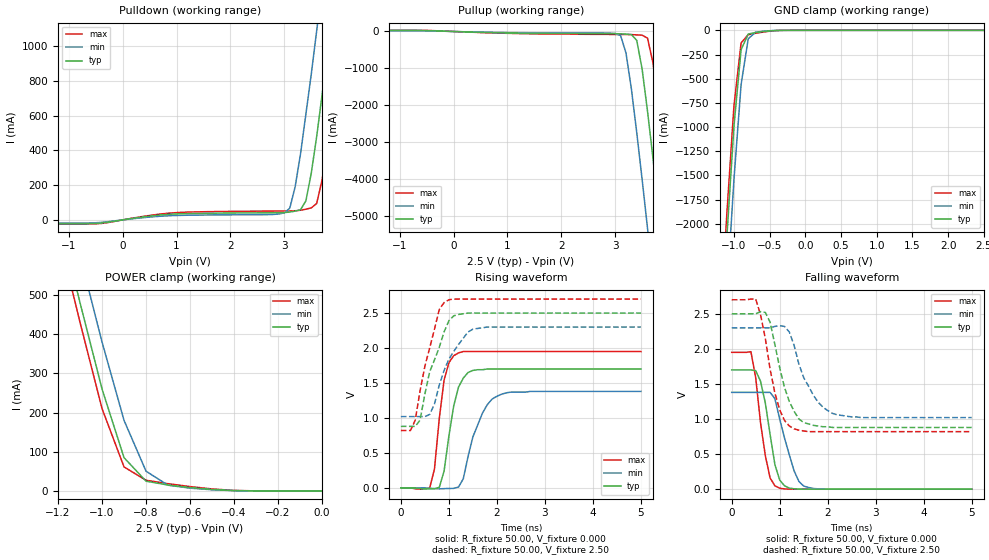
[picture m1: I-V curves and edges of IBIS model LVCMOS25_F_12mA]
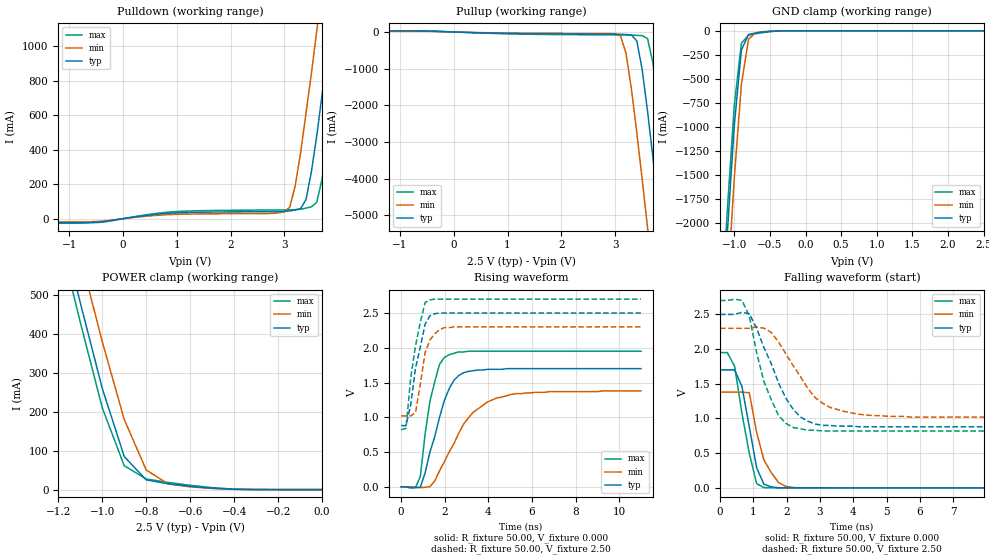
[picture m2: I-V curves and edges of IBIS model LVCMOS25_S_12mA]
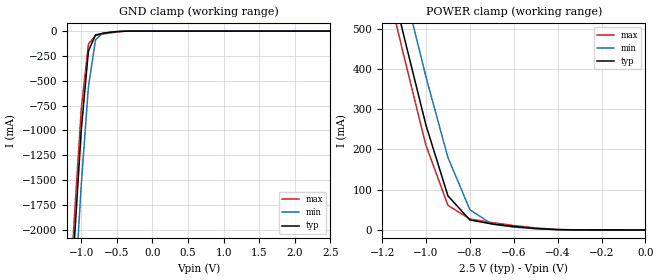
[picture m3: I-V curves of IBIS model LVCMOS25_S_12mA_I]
| / 7\'7
| \ \   Xilinx Inc.
| / /
| \_\/.\   IBIS Models for Spartan-3
| IBIS file spartan3.ibs created by appending individual files created
| using s2ibis2 version 1.1 North Carolina State University
| Electronics Research Laboratory 1995
[IBIS ver]   3.2
[File name]   scomp.ibs
[File Rev]   3.4.4
[Date]   Fri Dec 31 17:19:45 2021
[Source]   Spartan-3 layout and silicon models.
[Notes]   Xilinx Spartan-3 I/O IBIS models.
   To accurately model package parasitics, please follow the
   instructions at:  http://www.xilinx.com/xlnx/
   xil_ans_display.jsp?getPagePath=11754
   LVDS and LVPECL drivers require the use of external
   termination resistors to provide the correct voltage levels.
   For more information, refer to the Spartan-3 documentation.
   NOTE: This file is compliant with IBIS Version 3.2, but it
   may not implement all approved 3.2 features.
   NOTE:  Newer versions of the buffer models may be available.
   Check the web (http://www.xilinx.com/support/sw_ibis.htm) for
   the latest file revision.  However, please be aware that the
   web files are not compatible for use with IBISWriter, and
   must be manually annotated, should their use be preferred.
[Disclaimer] The data in these models is derived from HSPICE simulations
                 using modeling information extracted from the target process.
                 While a great deal of care has been taken to provide
                 information that is accurate, this model is considered
                 PRELIMINARY as it has not been verified by actual silicon
                 measurement.
[Copyright]   Copyright 2004 Xilinx Inc., All rights reserved.
|   Component Spartan-3
[Component]   Spartan-3
[Manufacturer]   Xilinx, Inc.
[Package]
| For Package Type pq208
| variable   typ   min   max
R_pkg   0.2m   0.199m   0.2m
L_pkg   14.5nH   12.8nH   16.2nH
C_pkg   1.8pF   1.6pF   2.0pF
[Pin]  signal_name   model_name   R_pin   L_pin   C_pin
P64   register_ac_out<1>   LVCMOS25_S_12mA_O
P123   memory_data_register_out<15>   LVCMOS25_S_12mA_O
P58   register_ac_out<2>   LVCMOS25_S_12mA_O
P62   register_ac_out<3>   LVCMOS25_S_12mA_O
P48   register_ac_out<4>   LVCMOS25_S_12mA_O
P77   register_ac_out<5>   LVCMOS25_S_12mA_O
P51   register_ac_out<6>   LVCMOS25_S_12mA_O
P65   register_ac_out<7>   LVCMOS25_S_12mA_O
P63   register_ac_out<8>   LVCMOS25_S_12mA_O
P43   register_ac_out<9>   LVCMOS25_S_12mA_O
P44   register_ac_out<10>   LVCMOS25_S_12mA_O
P45   register_ac_out<11>   LVCMOS25_S_12mA_O
P37   register_ac_out<12>   LVCMOS25_S_12mA_O
P40   register_ac_out<13>   LVCMOS25_S_12mA_O
P120   register_ac_out<14>   LVCMOS25_S_12mA_O
P85   register_ac_out<15>   LVCMOS25_S_12mA_O
P72   program_counter_out<0>   LVCMOS25_S_12mA_O
P90   program_counter_out<1>   LVCMOS25_S_12mA_O
P81   program_counter_out<2>   LVCMOS25_S_12mA_O
P86   program_counter_out<3>   LVCMOS25_S_12mA_O
P83   program_counter_out<4>   LVCMOS25_S_12mA_O
P95   program_counter_out<5>   LVCMOS25_S_12mA_O
P113   program_counter_out<6>   LVCMOS25_S_12mA_O
P68   program_counter_out<7>   LVCMOS25_S_12mA_O
P46   memory_write_out   LVCMOS25_S_12mA_O
P79   clock   LVCMOS25_S_12mA_I
P71   memory_address_register_out<0>   LVCMOS25_S_12mA_O
P80   memory_address_register_out<1>   LVCMOS25_S_12mA_O
P74   memory_address_register_out<2>   LVCMOS25_S_12mA_O
P34   reset   LVCMOS25_S_12mA_I
P94   memory_data_register_out<0>   LVCMOS25_S_12mA_O
P76   memory_address_register_out<3>   LVCMOS25_S_12mA_O
P93   memory_data_register_out<1>   LVCMOS25_S_12mA_O
P111   memory_address_register_out<4>   LVCMOS25_S_12mA_O
P52   memory_data_register_out<2>   LVCMOS25_S_12mA_O
P87   memory_address_register_out<5>   LVCMOS25_S_12mA_O
P67   memory_data_register_out<3>   LVCMOS25_S_12mA_O
P39   memory_address_register_out<6>   LVCMOS25_S_12mA_O
P61   memory_data_register_out<4>   LVCMOS25_S_12mA_O
P92   memory_address_register_out<7>   LVCMOS25_S_12mA_O
P78   memory_data_register_out<5>   LVCMOS25_S_12mA_O
P114   memory_data_register_out<6>   LVCMOS25_S_12mA_O
P117   memory_data_register_out<7>   LVCMOS25_S_12mA_O
P107   memory_data_register_out<10>   LVCMOS25_S_12mA_O
P119   memory_data_register_out<8>   LVCMOS25_S_12mA_O
P101   memory_data_register_out<11>   LVCMOS25_S_12mA_O
P116   memory_data_register_out<9>   LVCMOS25_S_12mA_O
P42   memory_data_register_out<12>   LVCMOS25_S_12mA_O
P115   memory_data_register_out<13>   LVCMOS25_S_12mA_O
P57   register_ac_out<0>   LVCMOS25_S_12mA_O
P122   memory_data_register_out<14>   LVCMOS25_S_12mA_O
P1   GND   GND
P2   IO_L01P_7/VRN_7   NC
P3   IO_L01N_7/VRP_7   NC
P6   VCCO_7   POWER
P7   IO_L19P_7   NC
P8   GND   GND
P9   IO_L19N_7/VREF_7   NC
P10   IO_L20P_7   NC
P11   IO_L20N_7   NC
P12   IO_L21P_7   NC
P13   IO_L21N_7   NC
P14   GND   GND
P15   IO_L22P_7   NC
P16   IO_L22N_7   NC
P17   VCCAUX   POWER
P18   IO_L23P_7   NC
P19   IO_L23N_7   NC
P20   IO_L24P_7   NC
P21   IO_L24N_7   NC
P23   VCCO_7   POWER
P25   GND   GND
P26   IO_L40P_7   NC
P27   IO_L40N_7/VREF_7   NC
P28   IO_L40P_6/VREF_6   NC
P29   IO_L40N_6   NC
P30   GND   GND
P32   VCCO_6   POWER
P35   IO_L24N_6/VREF_6   NC
P36   IO_L23P_6   NC
P38   VCCAUX   POWER
P41   GND   GND
P47   GND   GND
P49   VCCO_6   POWER
P53   GND   GND
P54   M1   LVCMOS25_F_12mA
P55   M0   LVCMOS25_F_12mA
P56   M2   LVCMOS25_F_12mA
P59   GND   GND
P60   VCCO_5   POWER
P66   GND   GND
P69   VCCAUX   POWER
P70   VCCINT   POWER
P73   VCCO_5   POWER
P75   GND   GND
P82   GND   GND
P84   VCCO_4   POWER
P88   VCCINT   POWER
P89   VCCAUX   POWER
P91   GND   GND
P98   VCCO_4   POWER
P99   GND   GND
P100   IO_L01P_4/VRN_4   NC
P102   IO/VREF_4   NC
P103   DONE   LVCMOS25_F_12mA
P104   CCLK   LVCMOS25_S_12mA
P105   GND   GND
P106   IO_L01P_3/VRN_3   NC
P110   VCCO_3   POWER
P112   GND   GND
P118   GND   GND
P121   VCCAUX   POWER
P124   IO_L24P_3   NC
P125   IO_L24N_3   NC
P127   VCCO_3   POWER
P129   GND   GND
P130   IO_L40P_3   NC
P131   IO_L40N_3/VREF_3   NC
P132   IO_L40P_2/VREF_2   NC
P133   IO_L40N_2   NC
P134   GND   GND
P136   VCCO_2   POWER
P138   IO_L24P_2   NC
P139   IO_L24N_2   NC
P140   IO_L23P_2   NC
P141   IO_L23N_2/VREF_2   NC
P142   VCCAUX   POWER
P143   IO_L22P_2   NC
P144   IO_L22N_2   NC
P145   GND   GND
P146   IO_L21P_2   NC
P147   IO_L21N_2   NC
P148   IO_L20P_2   NC
P149   IO_L20N_2   NC
P150   IO_L19P_2   NC
P151   GND   GND
P152   IO_L19N_2   NC
P153   VCCO_2   POWER
P155   IO_L01P_2/VRN_2   NC
P156   IO_L01N_2/VRP_2   NC
P157   GND   GND
P158   TDO   LVCMOS25_F_12mA
P159   TCK   LVCMOS25_F_12mA
P160   TMS   LVCMOS25_F_12mA
P161   IO_L01P_1/VRN_1   NC
P162   IO_L01N_1/VRP_1   NC
P163   GND   GND
P164   VCCO_1   POWER
P165   IO_L10P_1   NC
P166   IO_L10N_1/VREF_1   NC
P167   IO   NC
P168   IO_L27P_1   NC
P169   IO_L27N_1   NC
P170   GND   GND
P171   IO_L28P_1   NC
P172   IO_L28N_1   NC
P173   VCCAUX   POWER
P174   VCCINT   POWER
P175   IO   NC
P176   IO_L31P_1   NC
P177   VCCO_1   POWER
P178   IO_L31N_1/VREF_1   NC
P179   GND   GND
P180   GCLK4   LVCMOS25_F_12mA
P181   GCLK5   LVCMOS25_F_12mA
P182   IO   NC
P183   GCLK6   LVCMOS25_F_12mA
P184   GCLK7   LVCMOS25_F_12mA
P185   IO_L31P_0/VREF_0   NC
P186   GND   GND
P187   IO_L31N_0   NC
P188   VCCO_0   POWER
P189   IO   NC
P190   IO_L30P_0   NC
P191   IO_L30N_0   NC
P192   VCCINT   POWER
P193   VCCAUX   POWER
P194   IO_L27P_0   NC
P195   GND   GND
P196   IO_L27N_0   NC
P197   IO   NC
P198   IO_L25P_0   NC
P199   IO_L25N_0   NC
P201   VCCO_0   POWER
P202   GND   GND
P203   IO_L01P_0/VRN_0   NC
P204   IO_L01N_0/VRP_0   NC
P205   IO/VREF_0   NC
P206   HSWAP_EN   LVCMOS25_F_12mA
P207   PROG_B   LVCMOS25_F_12mA
P208   TDI   LVCMOS25_F_12mA
[Diff Pin]   inv_pin   vdiff   tdelay_typ   tdelay_min   tdelay_max
| Models and submodels in the file (4): LVCMOS25_F_12mA (I/O), LVCMOS25_S_12mA (I/O), LVCMOS25_S_12mA_I (Input), LVCMOS25_S_12mA_O (Output)
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|   Model LVCMOS25_F_12mA
[Model]   LVCMOS25_F_12mA
Model_type   I/O
Polarity   Non-Inverting
Enable   Active-Low
Vinl =   0.70V
Vinh =   1.70V
Vmeas =   1.25V
Cref =  0.000F
Rref =   1.00M
Vref =  0.000V
C_comp   6.38pF   4.60pF   8.23pF
[Temperature Range]   25.00   85.00   0.000
[Voltage Range]   2.50V   2.30V   2.70V
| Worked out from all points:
|   slope of the pulldown table from 0 to 0.375 V, typ, clamps not added: 22.4 ohm
|   slope of the pullup table from 0 to 0.375 V, typ, clamps not added: 20.9 ohm
|   GND clamp passes 1 mA (typ) near -0.38 V on its own axis
|   POWER clamp passes 1 mA (typ) near -0.41 V on its own axis
|   rising waveform, R_fixture 50.00, V_fixture 0.000: 20-80 % time 250ps typ, 383ps min, 191ps max; typ from 0 V to 1.7 V
|   rising waveform, R_fixture 50.00, V_fixture 2.50: 20-80 % time 412ps typ, 466ps min, 365ps max; typ from 0.88 V to 2.5 V
|   falling waveform, R_fixture 50.00, V_fixture 0.000: 20-80 % time 246ps typ, 329ps min, 223ps max; typ from 1.7 V to 0 V
|   falling waveform, R_fixture 50.00, V_fixture 2.50: 20-80 % time 369ps typ, 462ps min, 324ps max; typ from 2.5 V to 0.88 V
[Pulldown]
| voltage   I(typ)   I(min)   I(max)
-2.5V     -22.79mA   -18.33mA   -24.32mA
3V        42.13mA    39.99mA    51.17mA
3.1V      45.16mA    67.34mA    51.44mA
3.2V      50.35mA    190mA      52.36mA
3.4V      110mA      610mA      61.47mA
3.5V      270mA      840mA      69.07mA
3.6V      480mA      1.09A      94.52mA
3.7V      720mA      1.34A      230mA
3.8V      960mA      1.59A      440mA
4V        1.47A      2.1A       920mA
4.2V      1.98A      2.62A      1.42A
5V        4.06A      4.7A       3.49A
[Pullup]
| voltage   I(typ)   I(min)   I(max)
-2.5V     29.39mA    22.89mA    32.78mA
3.1V      -62.94mA   -110mA     -80.48mA
3.2V      -69.54mA   -580mA     -81.46mA
3.3V      -83.32mA   -1.55A     -84.45mA
3.4V      -240mA     -2.74A     -91.48mA
3.5V      -1.02A     -4.01A     -100mA
3.6V      -2.16A     -5.33A     -180mA
3.7V      -3.42A     -6.68A     -840mA
3.8V      -4.74A     -8.05A     -1.95A
4V        -7.47A     -10.81A    -4.52A
4.2V      -10.25A    -13.6A     -7.24A
5V        -21.56A    -24.91A    -18.51A
[GND_clamp]
| voltage   I(typ)   I(min)   I(max)
-2.5V     -21.56A    -22.07A    -21.35A
-1.2V     -3.41A     -4.01A     -3.17A
-1.1V     -2.14A     -2.73A     -1.9A
-1V       -990mA     -1.54A     -780mA
-900mV    -200mA     -560mA     -130mA
-800mV    -38.51mA   -87.42mA   -44.56mA
-700mV    -22.72mA   -20.52mA   -30.56mA
-400mV    -1.21mA    -970uA     -2.67mA
2.5V      19.29nA    8.49uA     24.01nA
[POWER_clamp]
| voltage   I(typ)   I(min)   I(max)
-2.5V     4.06A      4.18A      4.02A
-1.2V     710mA      840mA      660mA
-1.1V     480mA      600mA      430mA
-1V       260mA      380mA      210mA
-900mV    84.79mA    180mA      61.18mA
-800mV    24.88mA    50.29mA    27.26mA
-700mV    15.03mA    14.55mA    18.43mA
-600mV    8.66mA     7.1mA      11.09mA
-400mV    790uA      730uA      1.23mA
0V        19.29nA    79.37nA    32.11nA
[Ramp]
dV/dt_r   1.02/0.24n   0.83/0.36n   1.17/0.19n
dV/dt_f   0.97/0.36n   0.77/0.46n   1.13/0.31n
R_load = 50.00
[Rising Waveform]
R_fixture = 50.00
V_fixture = 0.000
| time   V(typ)   V(min)   V(max)
0s        0V         1.57uV     0V
600ps     -12.38mV   -4.86mV    -2.14mV
700ps     -9.94mV    -10.81mV   270mV
900ps     240mV      -10.52mV   1.54V
1.1ns     1.17V      -6.78mV    1.89V
1.2ns     1.44V      12.6mV     1.93V
1.4ns     1.65V      450mV      1.95V
1.7ns     1.69V      1.07V      1.95V
2ns       1.7V       1.31V      1.95V
5ns       1.7V       1.38V      1.95V
[Rising Waveform]
R_fixture = 50.00
V_fixture = 2.50
V_fixture_min = 2.30
V_fixture_max = 2.70
| time   V(typ)   V(min)   V(max)
0s        880mV      1.02V      820mV
200ps     880mV      1.02V      820mV
300ps     880mV      1.02V      970mV
400ps     970mV      1.02V      1.39V
600ps     1.66V      1.05V      2V
700ps     1.83V      1.2V       2.27V
800ps     2.01V      1.47V      2.55V
1ns       2.39V      1.84V      2.69V
1.5ns     2.5V       2.27V      2.7V
5ns       2.5V       2.3V       2.7V
[Falling Waveform]
R_fixture = 50.00
V_fixture = 0.000
| time   V(typ)   V(min)   V(max)
0s        1.7V       1.38V      1.95V
400ps     1.7V       1.38V      1.96V
500ps     1.69V      1.38V      1.59V
600ps     1.54V      1.38V      950mV
800ps     780mV      1.38V      160mV
900ps     350mV      1.29V      47.26mV
1ns       130mV      1V         14.08mV
1.3ns     4.83mV     260mV      220uV
1.5ns     330uV      43.95mV    6.05uV
5ns       0V         0V         0V
[Falling Waveform]
R_fixture = 50.00
V_fixture = 2.50
V_fixture_min = 2.30
V_fixture_max = 2.70
| time   V(typ)   V(min)   V(max)
0s        2.5V       2.3V       2.7V
500ps     2.5V       2.3V       2.71V
700ps     2.52V      2.3V       2.15V
800ps     2.38V      2.3V       1.71V
1ns       1.73V      2.33V      1.13V
1.3ns     1.11V      2.05V      860mV
1.5ns     950mV      1.59V      830mV
1.7ns     910mV      1.34V      820mV
2.1ns     880mV      1.08V      820mV
5ns       880mV      1.02V      820mV
|   Model LVCMOS25_S_12mA
[Model]   LVCMOS25_S_12mA
Model_type   I/O
Polarity   Non-Inverting
Enable   Active-Low
Vinl =   0.70V
Vinh =   1.70V
Vmeas =   1.25V
Cref =  0.000F
Rref =   1.00M
Vref =  0.000V
C_comp   6.38pF   4.60pF   8.23pF
[Temperature Range]   25.00   85.00   0.000
[Voltage Range]   2.50V   2.30V   2.70V
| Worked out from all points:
|   slope of the pulldown table from 0 to 0.375 V, typ, clamps not added: 22.4 ohm
|   slope of the pullup table from 0 to 0.375 V, typ, clamps not added: 20.9 ohm
|   GND clamp passes 1 mA (typ) near -0.38 V on its own axis
|   POWER clamp passes 1 mA (typ) near -0.41 V on its own axis
|   rising waveform, R_fixture 50.00, V_fixture 0.000: 20-80 % time 933ps typ, 1.61ns min, 617ps max; typ from 0 V to 1.7 V
|   rising waveform, R_fixture 50.00, V_fixture 2.50: 20-80 % time 541ps typ, 469ps min, 523ps max; typ from 0.88 V to 2.5 V
|   falling waveform, R_fixture 50.00, V_fixture 0.000: 20-80 % time 383ps typ, 489ps min, 434ps max; typ from 1.7 V to 0 V
|   falling waveform, R_fixture 50.00, V_fixture 2.50: 20-80 % time 901ps typ, 1.09ns min, 666ps max; typ from 2.5 V to 0.88 V
[Pulldown]
| voltage   I(typ)   I(min)   I(max)
-2.5V     -23.3mA    -18.33mA   -26.2mA
3V        42.13mA    39.99mA    51.11mA
3.1V      45.16mA    67.34mA    51.38mA
3.2V      50.35mA    190mA      52.3mA
3.4V      110mA      610mA      61.42mA
3.5V      270mA      840mA      69.02mA
3.6V      480mA      1.09A      94.47mA
3.7V      720mA      1.34A      230mA
3.8V      960mA      1.59A      440mA
4V        1.47A      2.1A       920mA
4.2V      1.98A      2.62A      1.42A
5V        4.06A      4.7A       3.49A
[Pullup]
| voltage   I(typ)   I(min)   I(max)
-2.5V     29.39mA    22.89mA    32.78mA
3.1V      -62.94mA   -110mA     -80.48mA
3.2V      -69.54mA   -580mA     -81.46mA
3.3V      -83.32mA   -1.55A     -84.45mA
3.4V      -240mA     -2.74A     -91.48mA
3.5V      -1.02A     -4.01A     -100mA
3.6V      -2.16A     -5.33A     -180mA
3.7V      -3.42A     -6.68A     -840mA
3.8V      -4.74A     -8.05A     -1.95A
4V        -7.47A     -10.81A    -4.52A
4.2V      -10.25A    -13.6A     -7.24A
5V        -21.56A    -24.91A    -18.51A
[GND_clamp]
| voltage   I(typ)   I(min)   I(max)
-2.5V     -21.56A    -22.07A    -21.35A
-1.2V     -3.41A     -4.01A     -3.17A
-1.1V     -2.14A     -2.73A     -1.9A
-1V       -990mA     -1.54A     -780mA
-900mV    -200mA     -560mA     -130mA
-800mV    -38.51mA   -87.42mA   -44.56mA
-700mV    -22.72mA   -20.52mA   -30.56mA
-400mV    -1.21mA    -970uA     -2.67mA
2.5V      19.29nA    8.49uA     24.01nA
[POWER_clamp]
| voltage   I(typ)   I(min)   I(max)
-2.5V     4.06A      4.18A      4.02A
-1.2V     710mA      840mA      660mA
-1.1V     480mA      600mA      430mA
-1V       260mA      380mA      210mA
-900mV    84.79mA    180mA      61.18mA
-800mV    24.88mA    50.29mA    27.26mA
-700mV    15.03mA    14.55mA    18.43mA
-600mV    8.66mA     7.1mA      11.09mA
-400mV    790uA      730uA      1.23mA
0V        19.29nA    79.37nA    32.11nA
[Ramp]
dV/dt_r   1.02/0.87n   0.83/1.68n   1.17/0.58n
dV/dt_f   0.97/0.82n   0.77/1.19n   1.13/0.63n
R_load = 50.00
[Rising Waveform]
R_fixture = 50.00
V_fixture = 0.000
| time   V(typ)   V(min)   V(max)
0s        0V         1.57uV     0V
660ps     -11.67mV   -6.64mV    -10.51mV
880ps     -6.84mV    -12.52mV   150mV
1.32ns    500mV      2.32mV     1.23V
1.76ns    1V         230mV      1.76V
2.2ns     1.41V      500mV      1.9V
2.64ns    1.6V       770mV      1.94V
3.3ns     1.67V      1.07V      1.95V
4.4ns     1.69V      1.28V      1.95V
11ns      1.7V       1.38V      1.95V
[Rising Waveform]
R_fixture = 50.00
V_fixture = 2.50
V_fixture_min = 2.30
V_fixture_max = 2.70
| time   V(typ)   V(min)   V(max)
0s        880mV      1.02V      820mV
220ps     880mV      1.02V      840mV
440ps     1.18V      1.02V      1.57V
660ps     1.71V      1.07V      2.03V
880ps     2.01V      1.48V      2.37V
1.1ns     2.34V      1.93V      2.65V
1.32ns    2.46V      2.11V      2.69V
1.76ns    2.5V       2.26V      2.7V
2.42ns    2.5V       2.3V       2.7V
11ns      2.5V       2.3V       2.7V
[Falling Waveform]
R_fixture = 50.00
V_fixture = 0.000
| time   V(typ)   V(min)   V(max)
0s        1.7V       1.38V      1.95V
220ps     1.7V       1.38V      1.95V
440ps     1.7V       1.38V      1.75V
660ps     1.46V      1.38V      1.07V
880ps     880mV      1.37V      500mV
1.1ns     290mV      800mV      61.49mV
1.32ns    52.25mV    400mV      3.4mV
1.76ns    1.88mV     75.37mV    710uV
2.2ns     640uV      4.99mV     270uV
11ns      160nV      1.61uV     230nV
[Falling Waveform]
R_fixture = 50.00
V_fixture = 2.50
V_fixture_min = 2.30
V_fixture_max = 2.70
| time   V(typ)   V(min)   V(max)
0s        2.5V       2.3V       2.7V
660ps     2.53V      2.3V       2.7V
880ps     2.51V      2.3V       2.48V
1.32ns    2.02V      2.3V       1.53V
1.76ns    1.51V      2.1V       1.04V
2.2ns     1.13V      1.76V      870mV
2.64ns    960mV      1.43V      830mV
3.08ns    900mV      1.22V      820mV
4.18ns    880mV      1.06V      820mV
11ns      880mV      1.02V      820mV
|   Model LVCMOS25_S_12mA_I
[Model]   LVCMOS25_S_12mA_I
Model_type   Input
Polarity   Non-Inverting
Vinl =   0.70V
Vinh =   1.70V
C_comp   6.38pF   4.60pF   8.23pF
[Temperature Range]   25.00   85.00   0.000
[Voltage Range]   2.50V   2.30V   2.70V
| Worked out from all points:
|   GND clamp passes 1 mA (typ) near -0.38 V on its own axis
|   POWER clamp passes 1 mA (typ) near -0.41 V on its own axis
[GND_clamp]
| voltage   I(typ)   I(min)   I(max)
-2.5V     -21.56A    -22.07A    -21.35A
-1.2V     -3.41A     -4.01A     -3.17A
-1.1V     -2.14A     -2.73A     -1.9A
-1V       -990mA     -1.54A     -780mA
-900mV    -200mA     -560mA     -130mA
-800mV    -38.51mA   -87.42mA   -44.56mA
-700mV    -22.72mA   -20.52mA   -30.56mA
-400mV    -1.21mA    -970uA     -2.67mA
2.5V      19.29nA    8.49uA     24.01nA
[POWER_clamp]
| voltage   I(typ)   I(min)   I(max)
-2.5V     4.06A      4.18A      4.02A
-1.2V     710mA      840mA      660mA
-1.1V     480mA      600mA      430mA
-1V       260mA      380mA      210mA
-900mV    84.79mA    180mA      61.18mA
-800mV    24.88mA    50.29mA    27.26mA
-700mV    15.03mA    14.55mA    18.43mA
-600mV    8.66mA     7.1mA      11.09mA
-400mV    790uA      730uA      1.23mA
0V        19.29nA    79.37nA    32.11nA
